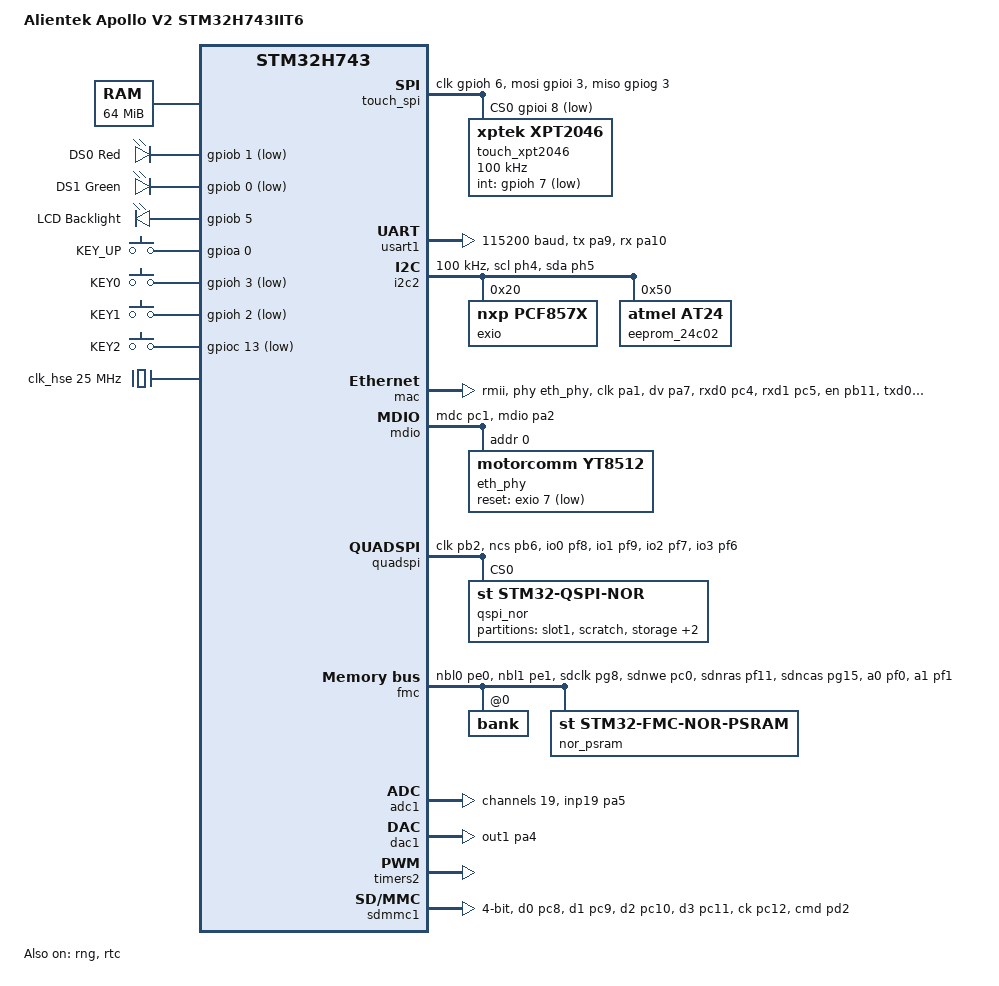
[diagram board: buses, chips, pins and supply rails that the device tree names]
/*
 * 阿波罗 V2 STM32H743 开发板 (正点原子 Alientek)
 *   核心板: STM32H743_CORE V2.0 (STM32H743IIT6, LQFP176, 480MHz, 2MB Flash / 1MB RAM)
 *   底板:   DNF429P_F767P_H743P V2.5
 *
 * 板 DTS 包含板载固定硬件 (引脚经 apps/examples/hw-bringup 实测验证):
 *   - 25MHz HSE -> PLL 480MHz 时钟
 *   - USART1 控制台 (PA9/PA10, 经 CH340C)
 *   - LED / 按键 / 底板 I2C2 (PH4/PH5) + 24C02 + PCF8574
 *   - 以太网 MAC + YT8512C PHY (RMII)
 *   - QSPI W25Q256 32MB / FMC SDRAM W9825G6KH 32MB
 *   - ADC1(PA5) / DAC1(PA4) / PWM TIM2_CH4(PA3) / SDMMC1 TF 卡 / RTC(LSE)
 *
 * 与其他外设冲突的引脚 (P9 = USB/CAN 二选一; USART2/3 与 RMII 冲突) 不在
 * 板级默认使能, 由应用 overlay 决定。引脚分配见
 * docs/Apollo_V2_STM32H743_Hardware_Config.md
 */

/dts-v1/;
#include <st/h7/stm32h743Xi.dtsi>
#include <st/h7/stm32h743iitx-pinctrl.dtsi>
#include <zephyr/dt-bindings/input/input-event-codes.h>
#include <zephyr/dt-bindings/memory-controller/stm32-fmc-nor-psram.h>
#include <zephyr/dt-bindings/memory-attr/memory-attr.h>
#include <zephyr/dt-bindings/display/panel.h>

/ {
	model = "Alientek Apollo V2 STM32H743IIT6";
	compatible = "st,stm32h743iit6", "st,stm32h743";

	chosen {
		zephyr,console = &usart1;
		zephyr,shell-uart = &usart1;
		zephyr,display = &lcd_ili9341;
		zephyr,touch = &touch_xpt2046;
		zephyr,sram = &sram0;
		zephyr,dtcm = &dtcm;
		zephyr,flash = &flash0;
		/* MCUboot 布局: 应用链入内部 slot0 (mcuboot 域构建时该 chosen
		 * 被忽略, MCUboot 本体仍在 0x08000000) */
		zephyr,code-partition = &slot0_partition;
	};

	/* FMC SDRAM bank1 内存区 (32MB, 控制器配置见 &fmc) */
	sdram_mem: sdram@c0000000 {
		compatible = "zephyr,memory-region", "mmio-sram";
		device_type = "memory";
		reg = <0xc0000000 DT_SIZE_M(32)>;
		zephyr,memory-region = "SDRAM";
	};

	/* TFTLCD 所在的 FMC NE1 区: Cortex-M7 默认映射下该区可缓存,
	 * LCD 写会滞留 D-Cache (屏收不到数据)。声明为 MPU IO 属性
	 * (Device 非共享), ARM MPU 驱动启动时静态建立 region —— 注意
	 * 不能用运行时手动配 MPU 的方式, 栈保护会在上下文切换时清掉
	 * 动态区 (见 apps/examples/hw-bringup/src/lcd_fmc.c 注释) */
	lcd_mem: memory@60000000 {
		compatible = "zephyr,memory-region", "mmio-sram";
		reg = <0x60000000 DT_SIZE_M(64)>;
		zephyr,memory-region = "LCD";	/* 仅 linker 声明, 不放置段 */
		zephyr,memory-attr = <DT_MEM_ARM_MPU_IO>;
	};

/* ============ 电阻触摸 XPT2046 (TFTLCD 排座, 5 线 GPIO 位拆 SPI) ============
 * T_CLK=PH6  T_DIN=PI3  T_DO=PG3  T_CS=PI8  T_PEN(中断)=PH7
 * 引脚分散无硬件 SPI 覆盖, 使用 zephyr bitbang SPI 控制器 */
touch_spi: touch-spi {
	compatible = "zephyr,spi-bitbang";
	status = "okay";
	#address-cells = <1>;
	#size-cells = <0>;
	clk-gpios = <&gpioh 6 (GPIO_ACTIVE_HIGH | GPIO_PULL_UP)>;
	mosi-gpios = <&gpioi 3 (GPIO_ACTIVE_HIGH | GPIO_PULL_UP)>;
	miso-gpios = <&gpiog 3 (GPIO_ACTIVE_HIGH | GPIO_PULL_UP)>;
	cs-gpios = <&gpioi 8 GPIO_ACTIVE_LOW>;

	touch_xpt2046: xpt2046@0 {
		compatible = "xptek,xpt2046";
		reg = <0>;
		spi-max-frequency = <100000>;
		int-gpios = <&gpioh 7 GPIO_ACTIVE_LOW>;	/* T_PEN, 按下拉低 */
		touchscreen-size-x = <240>;
		touchscreen-size-y = <320>;
		/* 原始 12 位 ADC 校准边界, 按实测微调 */
		min-x = <200>;
		max-x = <3900>;
		min-y = <200>;
		max-y = <3900>;
		z-threshold = <300>;
		reads = <8>;
	};
};

	/* 阿波罗 V2 LED 低电平点亮 (V1 实测, 见应用计划 §10.2 修复 #3) */
	leds {
		compatible = "gpio-leds";

		red_led: led_0 {	/* DS0 红, 核心板 PB1 */
			gpios = <&gpiob 1 GPIO_ACTIVE_LOW>;
			label = "DS0 Red";
		};
		green_led: led_1 {	/* DS1 绿, 底板 PB0 */
			gpios = <&gpiob 0 GPIO_ACTIVE_LOW>;
			label = "DS1 Green";
		};

		/* TFTLCD 背光 PB5, 高电平点亮 (正点原子阿波罗 V2) */
		lcd_bl: lcd-backlight {
			gpios = <&gpiob 5 GPIO_ACTIVE_HIGH>;
			label = "LCD Backlight";
		};
	};

	gpio_keys {
		compatible = "gpio-keys";

		key_up: button_0 {	/* WK_UP, 按下接 3.3V, 可做待机唤醒 */
			label = "KEY_UP";
			gpios = <&gpioa 0 (GPIO_ACTIVE_HIGH | GPIO_PULL_DOWN)>;
			zephyr,code = <INPUT_KEY_0>;
		};
		key_0: button_1 {	/* KEY0, 按下接地 */
			label = "KEY0";
			gpios = <&gpioh 3 (GPIO_ACTIVE_LOW | GPIO_PULL_UP)>;
			zephyr,code = <INPUT_KEY_1>;
		};
		key_1: button_2 {	/* KEY1, 按下接地 */
			label = "KEY1";
			gpios = <&gpioh 2 (GPIO_ACTIVE_LOW | GPIO_PULL_UP)>;
			zephyr,code = <INPUT_KEY_2>;
		};
		key_2: button_3 {	/* KEY2, 按下接地 */
			label = "KEY2";
			gpios = <&gpioc 13 (GPIO_ACTIVE_LOW | GPIO_PULL_UP)>;
			zephyr,code = <INPUT_KEY_3>;
		};
	};

	aliases {
		led0 = &red_led;
		led1 = &green_led;
		sw0 = &key_up;
		sw1 = &key_0;
		sw2 = &key_1;
		sw3 = &key_2;
		watchdog0 = &iwdg;
		sram-ext = &sdram_mem;
	};
};

/* 25MHz 主晶振 (PH0/PH1) */
&clk_hse {
	clock-frequency = <DT_FREQ_M(25)>;
	status = "okay";
};

/* ============ MCUboot Flash 分区 (跨 Flash: 内部 slot0 + QSPI slot1) ============
 * 布局 (实测教训: slot0 不得跨 H7 双 bank!):
 *   - MCUboot 常驻 bank1 前部 (0x08000000, 256KB = 2 扇区)
 *   - slot0 完全落在 bank2 (0x08100000, 1MB = 8 扇区): H7 仅支持跨 bank
 *     读写 (RWW), swap 擦除 slot0 时 MCUboot 在 bank1 取指不受影响;
 *     slot0 横跨 bank1 时 swap 擦除会卡死取指总线 (实测死锁)
 *   - 升级镜像落 QSPI slot1 (与 slot0 等大), SWAP_SCRATCH 交换 */
&flash0 {
	partitions {
		compatible = "fixed-partitions";
		#address-cells = <1>;
		#size-cells = <1>;

		boot_partition: partition@0 {
			label = "mcuboot";
			reg = <0x00000000 0x00040000>;	/* 256KB = bank1 扇区 0-1 */
			read-only;
		};

		slot0_partition: partition@100000 {
			label = "slot0";
			reg = <0x00100000 0x00100000>;	/* 1MB = bank2 整体 (8 扇区) */
		};
	};
};

/* PLL: 25MHz / 5(M) = 5MHz * 192(N) = 960MHz; / 2(P) = 480MHz SYSCLK,
 * / 20(Q) = 48MHz 供 USB OTG FS (暂未使能, 预先分好) */
&pll {
	div-m = <5>;
	mul-n = <192>;
	div-p = <2>;
	div-q = <20>;
	div-r = <2>;
	clocks = <&clk_hse>;
	status = "okay";
};

&rcc {
	clocks = <&pll>;
	clock-frequency = <DT_FREQ_M(480)>;	/* D1CCLK = 480MHz */
	d1cpre = <1>;		/* Cortex-M7 480MHz */
	hpre = <2>;		/* AHB 240MHz */
	d1ppre = <2>;		/* APB3 120MHz */
	d2ppre1 = <2>;		/* APB1 120MHz */
	d2ppre2 = <2>;		/* APB2 120MHz */
	d3ppre = <2>;		/* APB4 120MHz */
};

&pwr {
	power-supply = "ldo";
};

&clk_hsi48 {
	status = "okay";
};

&rng {
	status = "okay";
};

/* USART1 (PA9/PA10), 经底板 CH340C 接 USB_232 Type-C (P11 跳线需短接) */
&usart1 {
	pinctrl-0 = <&usart1_tx_pa9 &usart1_rx_pa10>;
	pinctrl-names = "default";
	current-speed = <115200>;
	status = "okay";
};

/* 底板 I2C 总线 (PH4=SCL/PH5=SDA): 24C02/PCF8574/SH3001/ST480MC/AP3216C/ES8388 */
&i2c2 {
	pinctrl-0 = <&i2c2_scl_ph4 &i2c2_sda_ph5>;
	pinctrl-names = "default";
	clock-frequency = <I2C_BITRATE_STANDARD>;
	status = "okay";

	/* PCF8574T IO 扩展 @0x20:
	 * P0=BEEP  P1=AP_INT  P2=DCMI_PWDN  P3=USB_PWR
	 * P4=EXIO  P5=6D_INT  P6=RS485_RE   P7=ETH_RESET (低有效)
	 * 注意: 输出状态跨 SWD 复位保持; BEEP 实测 P0 低 = 响 */
	exio: pcf8574@20 {
		compatible = "nxp,pcf857x";
		reg = <0x20>;
		status = "okay";
		gpio-controller;
		#gpio-cells = <2>;
		ngpios = <8>;
	};

	/* 24C02 EEPROM, 256B / 页 8B */
	eeprom_24c02: eeprom@50 {
		compatible = "atmel,at24";
		reg = <0x50>;
		size = <256>;
		pagesize = <8>;
		address-width = <8>;
		timeout = <10>;
		status = "okay";
	};
};

/* 以太网: YT8512C PHY (RMII), PHY 输出 50MHz 参考时钟至 PA1 */
&mac {
	status = "okay";
	pinctrl-0 = <&eth_ref_clk_pa1
		     &eth_crs_dv_pa7
		     &eth_rxd0_pc4
		     &eth_rxd1_pc5
		     &eth_tx_en_pb11
		     &eth_txd0_pg13
		     &eth_txd1_pg14>;
	pinctrl-names = "default";
	phy-connection-type = "rmii";
	phy-handle = <&eth_phy>;
};

&mdio {
	status = "okay";
	pinctrl-0 = <&eth_mdc_pc1 &eth_mdio_pa2>;
	pinctrl-names = "default";

	eth_phy: ethernet-phy@0 {
		compatible = "motorcomm,yt8512";
		reg = <0x00>;
		/* PHY 复位脚在 PCF8574 P7 (低有效) */
		reset-gpios = <&exio 7 GPIO_ACTIVE_LOW>;
		reset-assert-duration-us = <10000>;
		reset-deassertion-timeout-ms = <100>;
	};
};

/* ============ QSPI W25Q256 32MB (PB2/PB6/PF6~PF9) ============
 * writeoc 必须显式指定 1-1-4 页编程 (0x32): 驱动默认用 1-4-4 (0x38),
 * W25Q256 不支持, 写会静默失效 (实测)。 */
&quadspi {
	pinctrl-0 = <&quadspi_clk_pb2
		     &quadspi_bk1_ncs_pb6
		     &quadspi_bk1_io0_pf8
		     &quadspi_bk1_io1_pf9
		     &quadspi_bk1_io2_pf7
		     &quadspi_bk1_io3_pf6>;
	pinctrl-names = "default";
	status = "okay";

	qspi_nor: qspi-nor-flash@0 {
		compatible = "st,stm32-qspi-nor";
		reg = <0>;
		size = <DT_SIZE_M(256)>;	/* 256 Mbit = 32 MB (单位: bit) */
		jedec-id = [ef 40 19];		/* Winbond W25Q256 */
		qspi-max-frequency = <40000000>;
		spi-bus-width = <4>;
		writeoc = "PP_1_1_4";
		status = "okay";

		partitions {
			compatible = "fixed-partitions";
			#address-cells = <1>;
			#size-cells = <1>;

			/* MCUboot Secondary Slot: 与内部 slot0 等大 (swap 要求) */
			slot1_partition: partition@0 {
				label = "slot1";
				reg = <0x00000000 0x00100000>;	/* 1MB */
			};

			/* SWAP_SCRATCH 暂存: >= 内部 slot0 单扇区 128KB */
			scratch_partition: partition@100000 {
				label = "scratch";
				reg = <0x00100000 0x00040000>;	/* 256KB */
			};

			/* settings/配置区 (计划 §三, 暂未使用) */
			storage_partition: partition@140000 {
				label = "storage";
				reg = <0x00140000 0x00200000>;	/* 2MB */
			};

			/* Web 静态资源/字库区 (计划 §三, 暂未使用) */
			resources_partition: partition@340000 {
				label = "resources";
				reg = <0x00340000 0x00400000>;	/* 4MB */
			};

			/* 中文字库分区: GB2312 一级 3755 字 + ASCII 16px 4bpp,
			 * AF16 格式, 运行时经 QSPI memmap 直读 (0x90000000+0x740000) */
			font_partition: partition@740000 {
				label = "font";
				reg = <0x00740000 0x00400000>;	/* 4MB */
			};
		};
	};
};

/* ============ FMC SDRAM W9825G6KH 32MB (16 位) ============
 * 实测要点:
 *  - BA0/BA1 接 PG4/PG5 (FMC_A14/A15), 漏配则只有 BA=11 的 bank (高 8MB) 可用
 *  - SDNE0/SDCKE0 走 PC2/PC3 (_c 复用位), 与常见 H7 板 (PH2/PH3) 不同
 *  - 120MHz/CL3 实测信号不稳 (44% 错误), 定为 80MHz (HCLK/3) / CL2 */
&fmc {
	pinctrl-0 = <&fmc_nbl0_pe0 &fmc_nbl1_pe1
		     &fmc_sdclk_pg8 &fmc_sdnwe_pc0
		     &fmc_sdcke0_pc3_c &fmc_sdne0_pc2_c
		     &fmc_sdnras_pf11 &fmc_sdncas_pg15
		     &fmc_a0_pf0 &fmc_a1_pf1 &fmc_a2_pf2 &fmc_a3_pf3
		     &fmc_a4_pf4 &fmc_a5_pf5 &fmc_a6_pf12 &fmc_a7_pf13
		     &fmc_a8_pf14 &fmc_a9_pf15 &fmc_a10_pg0
		     &fmc_a11_pg1 &fmc_a12_pg2
		     &fmc_a14_pg4 &fmc_a15_pg5
		     &fmc_d0_pd14 &fmc_d1_pd15 &fmc_d2_pd0 &fmc_d3_pd1
		     &fmc_d4_pe7 &fmc_d5_pe8 &fmc_d6_pe9 &fmc_d7_pe10
		     &fmc_d8_pe11 &fmc_d9_pe12 &fmc_d10_pe13 &fmc_d11_pe14
		     &fmc_d12_pe15 &fmc_d13_pd8 &fmc_d14_pd9 &fmc_d15_pd10
		     /* TFTLCD (FMC 8080): CS=NE1(PD7) RS=A18(PD13) WR/NOE(PD4/PD5),
		      * 数据线 D0~D15 与 SDRAM 共享总线 */
		     &fmc_ne1_pd7 &fmc_a18_pd13
		     &fmc_nwe_pd5 &fmc_noe_pd4>;

	pinctrl-names = "default";
	status = "okay";

	sdram {
		status = "okay";
		power-up-delay = <200>;
		num-auto-refresh = <8>;
		/* CL=2, 突发长度 1, 写突发单点 */
		mode-register = <0x220>;
		/* W9825: 64ms/8192 行 = 7.81us 刷新间隔; sdclk=80MHz 对应
		 * ~625 周期, 取保守值 (更频繁刷新无害) */
		refresh-rate = <640>;

		bank@0 {
			reg = <0>;
			st,sdram-control = <STM32_FMC_SDRAM_NC_9
					    STM32_FMC_SDRAM_NR_13
					    STM32_FMC_SDRAM_MWID_16
					    STM32_FMC_SDRAM_NB_4
					    STM32_FMC_SDRAM_CAS_2
					    STM32_FMC_SDRAM_SDCLK_PERIOD_3
					    STM32_FMC_SDRAM_RBURST_ENABLE
					    STM32_FMC_SDRAM_RPIPE_1>;
			st,sdram-timing = <3 8 5 8 4 3 3>;
		};
	};

	/* TFTLCD 模块 (FMC 8080 16 位, NE1 @0x60000000, RS=A18):
	 * 慢时序保证 ILI9341/NT35510 的 ID 读回可靠 */
	nor_psram: nor-psram {
		compatible = "st,stm32-fmc-nor-psram";
		#address-cells = <1>;
		#size-cells = <0>;
		status = "okay";

		lcd_bank: sram@0 {
			reg = <0>;	/* NE1 */
			st,control = <STM32_FMC_DATA_ADDRESS_MUX_DISABLE
				      STM32_FMC_MEMORY_TYPE_SRAM
				      STM32_FMC_NORSRAM_MEM_BUS_WIDTH_16
				      STM32_FMC_BURST_ACCESS_MODE_DISABLE
				      STM32_FMC_WAIT_SIGNAL_POLARITY_LOW
				      STM32_FMC_WAIT_TIMING_BEFORE_WS
				      STM32_FMC_WRITE_OPERATION_ENABLE
				      STM32_FMC_WAIT_SIGNAL_DISABLE
				      STM32_FMC_EXTENDED_MODE_DISABLE
				      STM32_FMC_ASYNCHRONOUS_WAIT_DISABLE
				      STM32_FMC_WRITE_BURST_DISABLE
				      STM32_FMC_CONTINUOUS_CLOCK_SYNC_ONLY
				      STM32_FMC_WRITE_FIFO_DISABLE
				      STM32_FMC_PAGE_SIZE_NONE>;
			st,timing = <15 3 100 15 2 2 STM32_FMC_ACCESS_MODE_A>;

			/* TFTLCD 总线抽象 (MIPI DBI Type B / Intel 8080 16 位):
			 * RS=register-select-pin=18 -> 数据口 0x60080000
			 * 背光独立接 PB5 (见应用侧), 复位接系统复位, 无需 GPIO */
			fmc_mipi_dbi: fmc-mipi-dbi {
				compatible = "st,stm32-fmc-mipi-dbi";
				bank-address = <0x60000000>;	/* NE1, 绕过 fork 缺失的 FMC_BANK1_x 宏 */
				register-select-pin = <18>;
				#address-cells = <1>;
				#size-cells = <0>;

				lcd_ili9341: lcd-panel@0 {
					compatible = "ilitek,ili9341";
					reg = <0>;
					mipi-mode = "MIPI_DBI_MODE_8080_BUS_16_BIT";
					mipi-max-frequency = <15000000>;
					width = <240>;
					height = <320>;
					pixel-format = <PANEL_PIXEL_FORMAT_RGB_565>;
					rotation = <0>;
					h-mirror;	/* 实测此模块需要 MX 位, 否则左右镜像 */
				};
			};
		};
	};
};

/* ============ ADC1 PA5 (INP19, TPAD/STM_ADC, P10 跳线) ============ */
&adc1 {
	pinctrl-0 = <&adc1_inp19_pa5>;
	pinctrl-names = "default";
	st,adc-clock-source = "SYNC";
	st,adc-prescaler = <4>;
	status = "okay";

	#address-cells = <1>;
	#size-cells = <0>;

	pa5_adc: channel@19 {
		reg = <19>;
		zephyr,gain = "ADC_GAIN_1";
		zephyr,reference = "ADC_REF_INTERNAL";
		zephyr,acquisition-time = <ADC_ACQ_TIME_DEFAULT>;
		zephyr,resolution = <12>;
		zephyr,vref-mv = <3300>;
	};
};

/* ============ DAC1_OUT1 PA4 ============ */
&dac1 {
	pinctrl-0 = <&dac1_out1_pa4>;
	pinctrl-names = "default";
	status = "okay";
};

/* ============ PWM PA3 = TIM2_CH4 (PWM_DAC 输出, P1 排针) ============ */
&timers2 {
	st,prescaler = <240>;	/* 240MHz 计数时钟 / 240 = 1MHz */
	status = "okay";

	pwm2: pwm {
		status = "okay";
		pinctrl-0 = <&tim2_ch4_pa3>;
		pinctrl-names = "default";
	};
};

/* ============ SDMMC1 TF 卡 (4 位) ============
 * 注意: 不加 idma (IT 模式)。本 fork 驱动 idma 路径按 32 字节缓存行做
 * flush/invalidate, FATFS 内部 win[] 缓冲无对齐保证, 实测读到随机数据
 * (MBR 签名时有时无 -> 挂载 -19)。IT 模式读取稳定 (hw-bringup 实测);
 * V1 计划 §10.2 修复 #1 的 idma 待高负载写场景时重新评估 */
&sdmmc1 {
	status = "okay";
	disk-name = "SD";
	pinctrl-0 = <&sdmmc1_d0_pc8 &sdmmc1_d1_pc9
		     &sdmmc1_d2_pc10 &sdmmc1_d3_pc11
		     &sdmmc1_ck_pc12 &sdmmc1_cmd_pd2>;
	pinctrl-names = "default";
	bus-width = <4>;
};


/* ============ RTC, 32.768kHz LSE (PC14/PC15) ============ */
&clk_lse {
	status = "okay";
};

&rtc {
	clocks = <&rcc STM32_CLOCK(APB1, 28)>,
		 <&rcc STM32_SRC_LSE RTC_SEL(1)>;
	status = "okay";
};

/* LCD 控制脚照抄 ATK 配置: 上拉 + 高速输出级 (低速时排线上边沿过缓,
 * 悬浮读会回显最后写入值) */
&fmc_ne1_pd7 { slew-rate = "very-high-speed"; bias-pull-up; };
&fmc_a18_pd13 { slew-rate = "very-high-speed"; bias-pull-up; };
&fmc_nwe_pd5 { slew-rate = "very-high-speed"; bias-pull-up; };
&fmc_noe_pd4 { slew-rate = "very-high-speed"; bias-pull-up; };
